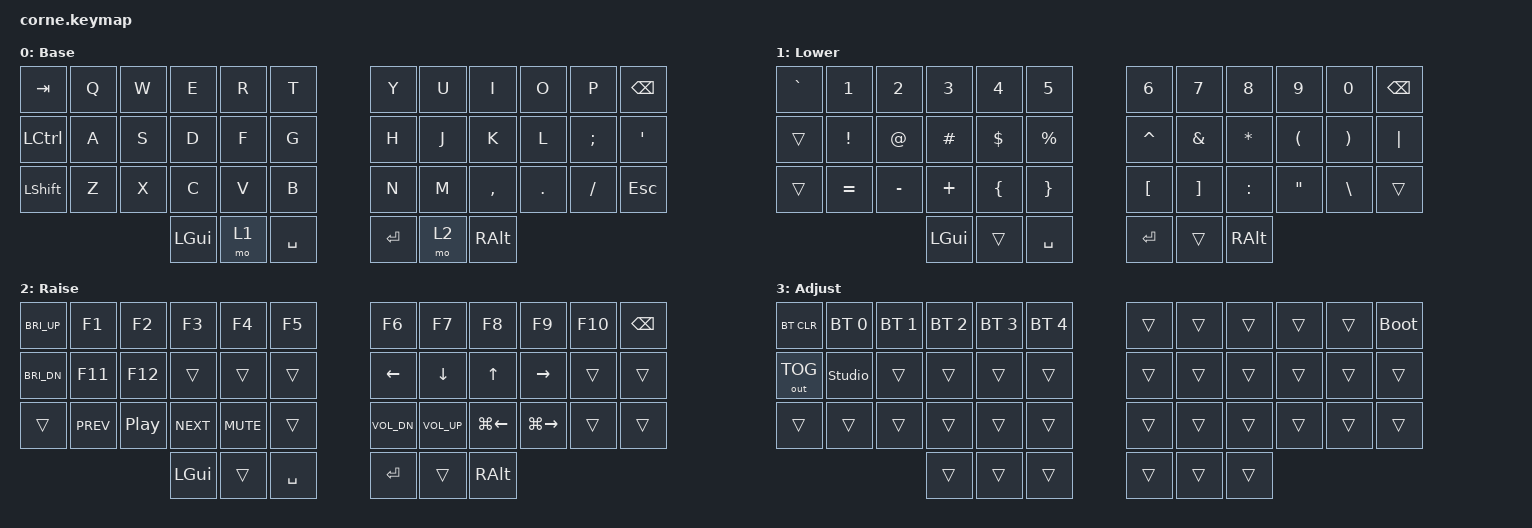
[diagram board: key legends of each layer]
/*
 * Corne (3x6+3) — keymap ZMK · afinado para macOS
 * Transicao a partir de um NuPhy Air60 V2.
 *
 * macOS: LGUI = Command (Cmd) · RALT = Option (Alt)
 * Tri-layer: manter LOWER + RAISE ao mesmo tempo -> camada ADJUST (bluetooth)
 * Navegacao de texto Mac (RAISE): Cmd+<- / Cmd+-> = inicio / fim de linha
 */

#include <behaviors.dtsi>
#include <dt-bindings/zmk/keys.h>
#include <dt-bindings/zmk/bt.h>
#include <dt-bindings/zmk/outputs.h>

/ {
        conditional_layers {
                compatible = "zmk,conditional-layers";
                tri_layer {
                        if-layers = <1 2>;
                        then-layer = <3>;
                };
        };

        keymap {
                compatible = "zmk,keymap";

                base_layer {
                        display-name = "Base";
// -----------------------------------------------------------------------------------------
// | TAB  |  Q  |  W  |  E  |  R  |  T  |   |  Y  |  U  |  I  |  O  |  P  | BSPC |
// | CTRL |  A  |  S  |  D  |  F  |  G  |   |  H  |  J  |  K  |  L  |  ;  |  '   |
// | SHFT |  Z  |  X  |  C  |  V  |  B  |   |  N  |  M  |  ,  |  .  |  /  | ESC  |
//                    | GUI | LWR | SPC |   | ENT | RSE | ALT |
                        bindings = <
   &kp TAB    &kp Q &kp W &kp E &kp R &kp T     &kp Y &kp U  &kp I     &kp O   &kp P    &kp BSPC
   &kp LCTRL  &kp A &kp S &kp D &kp F &kp G     &kp H &kp J  &kp K     &kp L   &kp SEMI &kp SQT
   &kp LSHFT  &kp Z &kp X &kp C &kp V &kp B     &kp N &kp M  &kp COMMA &kp DOT &kp FSLH &kp ESC
                        &kp LGUI &mo 1 &kp SPACE   &kp RET &mo 2 &kp RALT
                        >;
                };

                lower_layer {
                        display-name = "Lower";
// -----------------------------------------------------------------------------------------
// |  `   |  1  |  2  |  3  |  4  |  5  |   |  6  |  7  |  8  |  9  |  0  | BSPC |
// |      |  !  |  @  |  #  |  $  |  %  |   |  ^  |  &  |  *  |  (  |  )  |  |   |
// |      |  =  |  -  |  +  |  {  |  }  |   |  [  |  ]  |  :  |  "  |  \  |      |
//                    | GUI |     | SPC |   | ENT |     | ALT |
                        bindings = <
   &kp GRAVE  &kp N1    &kp N2    &kp N3   &kp N4   &kp N5      &kp N6   &kp N7   &kp N8    &kp N9   &kp N0   &kp BSPC
   &trans     &kp EXCL  &kp AT    &kp HASH &kp DLLR &kp PRCNT   &kp CARET &kp AMPS &kp ASTRK &kp LPAR &kp RPAR &kp PIPE
   &trans     &kp EQUAL &kp MINUS &kp PLUS &kp LBRC &kp RBRC    &kp LBKT &kp RBKT &kp COLON &kp DQT  &kp BSLH &trans
                        &kp LGUI &trans &kp SPACE   &kp RET &trans &kp RALT
                        >;
                };

                raise_layer {
                        display-name = "Raise";
// -----------------------------------------------------------------------------------------
// | BRT+ | F1  | F2  | F3  | F4  | F5  |   | F6  | F7  | F8  | F9  | F10 | BSPC |
// | BRT- | F11 | F12 |     |     |     |   |  <- |  v  |  ^  |  -> |     |      |
// |      | prev| p/p |next | mute|     |   | VOL-| VOL+| Cmd<-| Cmd->|    |      |
//                    | GUI |     | SPC |   | ENT |     | ALT |
                        bindings = <
   &kp C_BRI_UP  &kp F1     &kp F2   &kp F3     &kp F4      &kp F5      &kp F6       &kp F7       &kp F8       &kp F9        &kp F10 &kp BSPC
   &kp C_BRI_DN  &kp F11    &kp F12  &trans     &trans      &trans      &kp LEFT     &kp DOWN     &kp UP       &kp RIGHT     &trans  &trans
   &trans        &kp C_PREV &kp C_PP &kp C_NEXT &kp C_MUTE  &trans      &kp C_VOL_DN &kp C_VOL_UP &kp LG(LEFT) &kp LG(RIGHT) &trans  &trans
                        &kp LGUI &trans &kp SPACE   &kp RET &trans &kp RALT
                        >;
                };

                adjust_layer {
                        display-name = "Adjust";
// -----------------------------------------------------------------------------------------
// | BTCLR| BT0 | BT1 | BT2 | BT3 | BT4 |   |     |     |     |     |     | BOOT |
// | USB  |STUDIO|    |     |     |     |   |     |     |     |     |     |      |
// |      |     |     |     |     |     |   |     |     |     |     |     |      |
//                    |     |     |     |   |     |     |     |
                        bindings = <
   &bt BT_CLR   &bt BT_SEL 0 &bt BT_SEL 1 &bt BT_SEL 2 &bt BT_SEL 3 &bt BT_SEL 4   &trans &trans &trans &trans &trans &bootloader
   &out OUT_TOG &studio_unlock &trans     &trans       &trans       &trans         &trans &trans &trans &trans &trans &trans
   &trans       &trans       &trans       &trans       &trans       &trans         &trans &trans &trans &trans &trans &trans
                        &trans &trans &trans   &trans &trans &trans
                        >;
                };
        };
};
